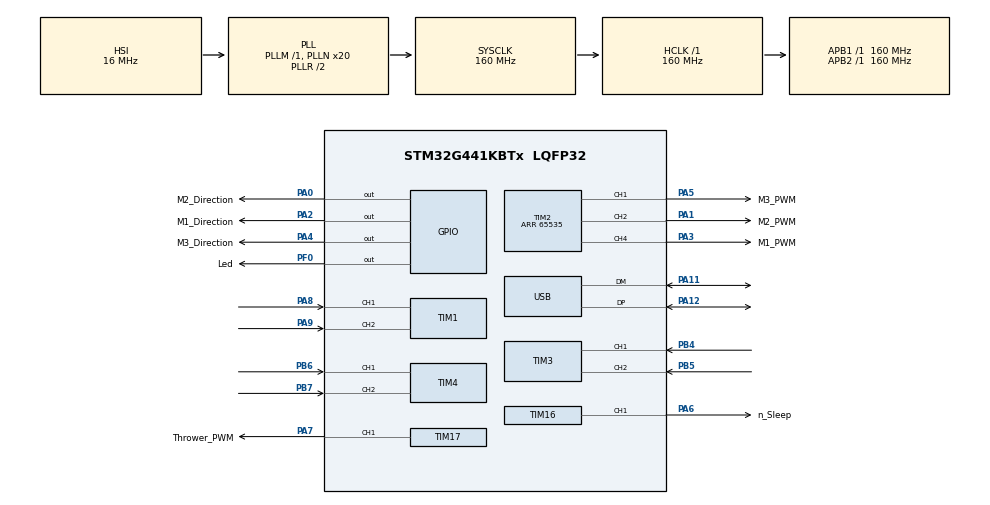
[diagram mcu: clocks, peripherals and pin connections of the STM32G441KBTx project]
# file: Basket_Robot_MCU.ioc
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Dma.Request0=TIM16_CH1
Dma.TIM16_CH1.0.Direction=DMA_MEMORY_TO_PERIPH
Dma.TIM16_CH1.0.EventEnable=DISABLE
Dma.TIM16_CH1.0.Instance=DMA1_Channel1
Dma.TIM16_CH1.0.MemDataAlignment=DMA_MDATAALIGN_HALFWORD
Dma.TIM16_CH1.0.MemInc=DMA_MINC_ENABLE
Dma.TIM16_CH1.0.Mode=DMA_NORMAL
Dma.TIM16_CH1.0.PeriphDataAlignment=DMA_PDATAALIGN_HALFWORD
Dma.TIM16_CH1.0.PeriphInc=DMA_PINC_DISABLE
Dma.TIM16_CH1.0.Polarity=HAL_DMAMUX_REQ_GEN_RISING
Dma.TIM16_CH1.0.Priority=DMA_PRIORITY_LOW
Dma.TIM16_CH1.0.RequestNumber=1
Dma.TIM16_CH1.0.SignalID=NONE
Dma.TIM16_CH1.0.SyncEnable=DISABLE
Dma.TIM16_CH1.0.SyncPolarity=HAL_DMAMUX_SYNC_NO_EVENT
Dma.TIM16_CH1.0.SyncRequestNumber=1
Dma.TIM16_CH1.0.SyncSignalID=NONE
Mcu.Family=STM32G4
Mcu.Name=STM32G441KBTx
Mcu.Package=LQFP32
NVIC.DMA1_Channel1_IRQn=true\:0\:0\:false\:false\:true\:false\:true
NVIC.PriorityGroup=NVIC_PRIORITYGROUP_4
NVIC.TIM2_IRQn=true\:0\:0\:false\:false\:true\:true\:true
NVIC.TIM6_DAC_IRQn=true\:0\:0\:false\:false\:true\:true\:true
NVIC.USB_LP_IRQn=true\:0\:0\:false\:false\:true\:false\:true
PA0.GPIO_Label=M2_Direction
PA0.Signal=GPIO_Output
PA1.GPIO_Label=M2_PWM
PA1.Signal=S_TIM2_CH2
PA11.Mode=Device
PA11.Signal=USB_DM
PA12.Mode=Device
PA12.Signal=USB_DP
PA13.Mode=Serial_Wire
PA13.Signal=SYS_JTMS-SWDIO
PA14.Mode=Serial_Wire
PA14.Signal=SYS_JTCK-SWCLK
PA2.GPIO_Label=M1_Direction
PA2.Signal=GPIO_Output
PA3.GPIO_Label=M1_PWM
PA3.Signal=S_TIM2_CH4
PA4.GPIO_Label=M3_Direction
PA4.Signal=GPIO_Output
PA5.GPIO_Label=M3_PWM
PA5.Signal=S_TIM2_CH1
PA6.GPIO_Label=n_Sleep
PA6.Signal=S_TIM16_CH1
PA7.GPIO_Label=Thrower_PWM
PA7.Signal=S_TIM17_CH1
PA8.Signal=S_TIM1_CH1
PA9.Signal=S_TIM1_CH2
PB4.Signal=S_TIM3_CH1
PB5.Signal=S_TIM3_CH2
PB6.Signal=S_TIM4_CH1
PB7.Signal=S_TIM4_CH2
PF0-OSC_IN.GPIO_Label=Led
PF0-OSC_IN.GPIO_Speed=GPIO_SPEED_FREQ_MEDIUM
PF0-OSC_IN.Signal=GPIO_Output
ProjectManager.HeapSize=0x200
ProjectManager.StackSize=0x400
ProjectManager.TargetToolchain=STM32CubeIDE
RCC.ADC12Freq_Value=160000000
RCC.AHBFreq_Value=160000000
RCC.APB1Freq_Value=160000000
RCC.APB1TimFreq_Value=160000000
RCC.APB2Freq_Value=160000000
RCC.APB2TimFreq_Value=160000000
RCC.CK48CLockSelection=RCC_USBCLKSOURCE_HSI48
RCC.CortexFreq_Value=160000000
RCC.EXTERNAL_CLOCK_VALUE=12288000
RCC.HCLKFreq_Value=160000000
RCC.HSE_VALUE=8000000
RCC.HSI48_VALUE=48000000
RCC.HSI_VALUE=16000000
RCC.LSE_VALUE=32768
RCC.PLLN=20
RCC.PLLQ=RCC_PLLQ_DIV4
RCC.SYSCLKFreq_VALUE=160000000
RCC.SYSCLKSource=RCC_SYSCLKSOURCE_PLLCLK
RCC.USBFreq_Value=48000000
RCC.VCOOutputFreq_Value=320000000
SH.S_TIM16_CH1.0=TIM16_CH1,PWM Generation1 CH1
SH.S_TIM17_CH1.0=TIM17_CH1,PWM Generation1 CH1
SH.S_TIM1_CH1.0=TIM1_CH1,Encoder_Interface
SH.S_TIM1_CH2.0=TIM1_CH2,Encoder_Interface
SH.S_TIM2_CH1.0=TIM2_CH1,PWM Generation1 CH1
SH.S_TIM2_CH2.0=TIM2_CH2,PWM Generation2 CH2
SH.S_TIM2_CH4.0=TIM2_CH4,PWM Generation4 CH4
SH.S_TIM3_CH1.0=TIM3_CH1,Encoder_Interface
SH.S_TIM3_CH2.0=TIM3_CH2,Encoder_Interface
SH.S_TIM4_CH1.0=TIM4_CH1,Encoder_Interface
SH.S_TIM4_CH2.0=TIM4_CH2,Encoder_Interface
TIM1.EncoderMode=TIM_ENCODERMODE_TI12
TIM16.Channel=TIM_CHANNEL_1
TIM16.OCIdleState_1=TIM_OCIDLESTATE_SET
TIM16.OCPolarity_1=TIM_OCPOLARITY_LOW
TIM16.PeriodNoDither=15999
TIM16.PulseNoDither_1=0
TIM17.Channel=TIM_CHANNEL_1
TIM17.PeriodNoDither=39999
TIM17.Prescaler=79
TIM2.Channel-PWM\ Generation1\ CH1=TIM_CHANNEL_1
TIM2.Channel-PWM\ Generation2\ CH2=TIM_CHANNEL_2
TIM2.Channel-PWM\ Generation4\ CH4=TIM_CHANNEL_4
TIM2.PeriodNoDither=65535
TIM3.EncoderMode=TIM_ENCODERMODE_TI12
TIM4.EncoderMode=TIM_ENCODERMODE_TI12
TIM6.PeriodNoDither=63999
TIM6.Prescaler=24
USB.Sof_enable=DISABLE
USB_DEVICE.CLASS_NAME_FS=CDC
USB_DEVICE.VirtualMode=Cdc
USB_DEVICE.VirtualModeFS=Cdc_FS
VP_SYS_VS_DBSignals.Mode=DisableDeadBatterySignals
VP_TIM16_VS_ClockSourceINT.Mode=Enable_Timer
VP_TIM17_VS_ClockSourceINT.Mode=Enable_Timer
VP_TIM6_VS_ClockSourceINT.Mode=Enable_Timer
VP_USB_DEVICE_VS_USB_DEVICE_CDC_FS.Mode=CDC_FS
board=custom

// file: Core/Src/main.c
/* USER CODE BEGIN Header */
/**
  ******************************************************************************
  * @file           : main.c
  * @brief          : Main program body
  ******************************************************************************
  * @attention
  *
  * Copyright (c) 2021 STMicroelectronics.
  * All rights reserved.
  *
  * This software is licensed under terms that can be found in the LICENSE file
  * in the root directory of this software component.
  * If no LICENSE file comes with this software, it is provided AS-IS.
  *
  ******************************************************************************
  */
/* USER CODE END Header */
#include "main.h"
#include "usb_device.h"

/* USER CODE BEGIN Includes */
#include "usbd_cdc_if.h"

/* USER CODE END Includes */

TIM_HandleTypeDef htim1;
TIM_HandleTypeDef htim2;
TIM_HandleTypeDef htim3;
TIM_HandleTypeDef htim4;
TIM_HandleTypeDef htim6;
TIM_HandleTypeDef htim16;
TIM_HandleTypeDef htim17;
DMA_HandleTypeDef hdma_tim16_ch1;

void SystemClock_Config(void);
static void MX_DMA_Init(void);
static void MX_GPIO_Init(void);
static void MX_TIM1_Init(void);
static void MX_TIM2_Init(void);
static void MX_TIM3_Init(void);
static void MX_TIM4_Init(void);
static void MX_TIM16_Init(void);
static void MX_TIM17_Init(void);
static void MX_TIM6_Init(void);

/* USER CODE BEGIN 0 */

typedef struct Command { // (1)
  int16_t speed1;
  int16_t speed2;
  int16_t speed3;
  uint16_t throwerSpeed;
  uint16_t delimiter; // (2)
} Command;

typedef struct Feedback { // (3)
  int16_t speed1;
  int16_t speed2;
  int16_t speed3;
  uint16_t delimiter;
} Feedback;

typedef struct MotorControl {
	int16_t gainP;
	int16_t gainI;
	int32_t integral;
	int16_t positionChange;
	int16_t positionPrev;
} MotorControl;

MotorControl motor1Control = {.gainP = 4500, .gainI=50, .integral=0, .positionChange=0};
MotorControl motor2Control = {.gainP = 4500, .gainI=50, .integral=0, .positionChange=0};
MotorControl motor3Control = {.gainP = 4500, .gainI=50, .integral=0, .positionChange=0};

Command command = {.speed1 = 0, .speed2 = 0, .speed3 = 0, .throwerSpeed = 0, .delimiter = 0}; // (4)

volatile uint8_t isCommandReceived = 0; // (5)

uint16_t nSleepPWMValues[2] = {4800, 0};

void CDC_On_Receive(uint8_t* buffer, uint32_t* length) { // (6)
  if (*length == sizeof(Command)) { // (7)
    memcpy(&command, buffer, sizeof(Command)); // (8)

    if (command.delimiter == 0xAAAA) { // (9)
      isCommandReceived = 1;
    }

  }
}

void enableMotorDrivers() {
	HAL_TIM_PWM_Start_DMA(&htim16, TIM_CHANNEL_1, nSleepPWMValues, 2);
}

int32_t clamp_value(int32_t val, int32_t min_val, int32_t max_val){

	if(val < min_val){

		return min_val;
	}
	if(val > max_val){

		return val;
	}
	return val;
}

int32_t controlMotor(MotorControl* motorControl, int16_t position, int16_t set_speed) {

	motorControl->positionChange = position - motorControl->positionPrev;
	motorControl->positionPrev = position;

	// PI controller implementation
	int16_t error = set_speed - motorControl->positionChange;
	motorControl->integral += error;

	motorControl->integral = clamp_value(motorControl->integral, -70000/motorControl->gainI, 70000/motorControl->gainI);

	return error * motorControl->gainP + motorControl->integral * motorControl->gainI;

}

void HAL_TIM_PeriodElapsedCallback(TIM_HandleTypeDef *htim) {
  // Motor control calculations is be called from here

	int32_t motor1PWM = clamp_value(controlMotor(&motor1Control, (int16_t)TIM1->CNT, command.speed1), -65535, 65535);
	int32_t motor2PWM = clamp_value(controlMotor(&motor2Control, (int16_t)TIM3->CNT, command.speed2), -65535, 65535);
	int32_t motor3PWM = clamp_value(controlMotor(&motor3Control, (int16_t)TIM4->CNT, command.speed3), -65535, 65535);

	if(motor1PWM < 0){
		//HAL_GPIO_WritePin(M1_Direction_GPIO_Port, M1_Direction_Pin, 0);
		HAL_GPIO_WritePin(M3_Direction_GPIO_Port, M3_Direction_Pin, 0);
		//TIM2->CCR4 = -motor1PWM; // Timer 2, channel 4
		TIM2->CCR1 = -motor1PWM; // Timer 2, channel 1
	}
	else{
		//HAL_GPIO_WritePin(M1_Direction_GPIO_Port, M1_Direction_Pin, 1);
		HAL_GPIO_WritePin(M3_Direction_GPIO_Port, M3_Direction_Pin, 1);
		//TIM2->CCR4 = motor1PWM; // Timer 2, channel 4
		TIM2->CCR1 = motor1PWM; // Timer 2, channel 1
	}

	if(motor2PWM < 0){
			HAL_GPIO_WritePin(M2_Direction_GPIO_Port, M2_Direction_Pin, 0);
			TIM2->CCR2 = -motor2PWM; // Timer 2, channel 2
		}
		else{
			HAL_GPIO_WritePin(M2_Direction_GPIO_Port, M2_Direction_Pin, 1);
			TIM2->CCR2 = motor2PWM; // Timer 2, channel 2
		}

	if(motor3PWM < 0){
			//HAL_GPIO_WritePin(M3_Direction_GPIO_Port, M3_Direction_Pin, 0);
			HAL_GPIO_WritePin(M1_Direction_GPIO_Port, M1_Direction_Pin, 0);
			//TIM2->CCR1 = -motor3PWM; // Timer 2, channel 1
			TIM2->CCR4 = -motor3PWM; // Timer 2, channel 4
		}
		else{
			//HAL_GPIO_WritePin(M3_Direction_GPIO_Port, M3_Direction_Pin, 1);
			HAL_GPIO_WritePin(M1_Direction_GPIO_Port, M1_Direction_Pin, 1);
			//TIM2->CCR1 = motor3PWM; // Timer 2, channel 1
			TIM2->CCR4 = motor3PWM; // Timer 2, channel 4
		}
}

/* USER CODE END 0 */

int main(void)
{

  /* MCU Configuration--------------------------------------------------------*/

  /* Reset of all peripherals, Initializes the Flash interface and the Systick. */
  HAL_Init();

  /* Configure the system clock */
  SystemClock_Config();

  /* Initialize all configured peripherals */
  MX_DMA_Init();
  MX_GPIO_Init();
  MX_TIM1_Init();
  MX_TIM2_Init();
  MX_TIM3_Init();
  MX_TIM4_Init();
  MX_TIM16_Init();
  MX_TIM17_Init();
  MX_USB_Device_Init();
  MX_TIM6_Init();
  /* USER CODE BEGIN 2 */

  Feedback feedback = { // (1)
        .speed1 = 0,
        .speed2 = 0,
        .speed3 = 0,
        .delimiter = 0xAAAA
    };

  // Timer code
  HAL_TIM_Encoder_Start(&htim1, TIM_CHANNEL_1 | TIM_CHANNEL_2);
  HAL_TIM_Encoder_Start(&htim3, TIM_CHANNEL_1 | TIM_CHANNEL_2);
  HAL_TIM_Encoder_Start(&htim4, TIM_CHANNEL_1 | TIM_CHANNEL_2);

  // PWM code
  HAL_TIM_PWM_Start(&htim2, TIM_CHANNEL_1);
  HAL_TIM_PWM_Start(&htim2, TIM_CHANNEL_2);
  HAL_TIM_PWM_Start(&htim2, TIM_CHANNEL_4);
  HAL_TIM_PWM_Start(&htim17, TIM_CHANNEL_1);
  // Timer enabled code

  HAL_TIM_Base_Start_IT(&htim6);

  enableMotorDrivers();

  TIM17->CCR1 = 1800;

  /* USER CODE END 2 */

  /* Infinite loop */
  while (1)
  {

    /* USER CODE BEGIN 3 */

	  if (isCommandReceived) { // (2)
	       isCommandReceived = 0;

	       HAL_GPIO_TogglePin(Led_GPIO_Port, Led_Pin);

	       enableMotorDrivers();

	       feedback.speed1 = motor1Control.positionChange;
	       feedback.speed2 = motor2Control.positionChange;
	       feedback.speed3 = motor3Control.positionChange;
	       //feedback.speed1 = (int16_t)TIM1->CNT;
	       //feedback.speed2 = (int16_t)TIM3->CNT;
	       //feedback.speed3 = (int16_t)TIM4->CNT;

	       TIM17->CCR1 = command.throwerSpeed;

	       CDC_Transmit_FS((uint8_t*)&feedback, (uint16_t)sizeof(feedback));
	     }

  }
  /* USER CODE END 3 */
}

void SystemClock_Config(void)
{
  RCC_OscInitTypeDef RCC_OscInitStruct = {0};
  RCC_ClkInitTypeDef RCC_ClkInitStruct = {0};

  /** Configure the main internal regulator output voltage
  */
  HAL_PWREx_ControlVoltageScaling(PWR_REGULATOR_VOLTAGE_SCALE1_BOOST);
  /** Initializes the RCC Oscillators according to the specified parameters
  * in the RCC_OscInitTypeDef structure.
  */
  RCC_OscInitStruct.OscillatorType = RCC_OSCILLATORTYPE_HSI|RCC_OSCILLATORTYPE_HSI48;
  RCC_OscInitStruct.HSIState = RCC_HSI_ON;
  RCC_OscInitStruct.HSICalibrationValue = RCC_HSICALIBRATION_DEFAULT;
  RCC_OscInitStruct.HSI48State = RCC_HSI48_ON;
  RCC_OscInitStruct.PLL.PLLState = RCC_PLL_ON;
  RCC_OscInitStruct.PLL.PLLSource = RCC_PLLSOURCE_HSI;
  RCC_OscInitStruct.PLL.PLLM = RCC_PLLM_DIV1;
  RCC_OscInitStruct.PLL.PLLN = 20;
  RCC_OscInitStruct.PLL.PLLP = RCC_PLLP_DIV2;
  RCC_OscInitStruct.PLL.PLLQ = RCC_PLLQ_DIV4;
  RCC_OscInitStruct.PLL.PLLR = RCC_PLLR_DIV2;
  if (HAL_RCC_OscConfig(&RCC_OscInitStruct) != HAL_OK)
  {
    Error_Handler();
  }
  /** Initializes the CPU, AHB and APB buses clocks
  */
  RCC_ClkInitStruct.ClockType = RCC_CLOCKTYPE_HCLK|RCC_CLOCKTYPE_SYSCLK
                              |RCC_CLOCKTYPE_PCLK1|RCC_CLOCKTYPE_PCLK2;
  RCC_ClkInitStruct.SYSCLKSource = RCC_SYSCLKSOURCE_PLLCLK;
  RCC_ClkInitStruct.AHBCLKDivider = RCC_SYSCLK_DIV1;
  RCC_ClkInitStruct.APB1CLKDivider = RCC_HCLK_DIV1;
  RCC_ClkInitStruct.APB2CLKDivider = RCC_HCLK_DIV1;

  if (HAL_RCC_ClockConfig(&RCC_ClkInitStruct, FLASH_LATENCY_4) != HAL_OK)
  {
    Error_Handler();
  }
}

static void MX_TIM1_Init(void)
{

  TIM_Encoder_InitTypeDef sConfig = {0};
  TIM_MasterConfigTypeDef sMasterConfig = {0};

  htim1.Instance = TIM1;
  htim1.Init.Prescaler = 0;
  htim1.Init.CounterMode = TIM_COUNTERMODE_UP;
  htim1.Init.Period = 65535;
  htim1.Init.ClockDivision = TIM_CLOCKDIVISION_DIV1;
  htim1.Init.RepetitionCounter = 0;
  htim1.Init.AutoReloadPreload = TIM_AUTORELOAD_PRELOAD_DISABLE;
  sConfig.EncoderMode = TIM_ENCODERMODE_TI12;
  sConfig.IC1Polarity = TIM_ICPOLARITY_RISING;
  sConfig.IC1Selection = TIM_ICSELECTION_DIRECTTI;
  sConfig.IC1Prescaler = TIM_ICPSC_DIV1;
  sConfig.IC1Filter = 0;
  sConfig.IC2Polarity = TIM_ICPOLARITY_RISING;
  sConfig.IC2Selection = TIM_ICSELECTION_DIRECTTI;
  sConfig.IC2Prescaler = TIM_ICPSC_DIV1;
  sConfig.IC2Filter = 0;
  if (HAL_TIM_Encoder_Init(&htim1, &sConfig) != HAL_OK)
  {
    Error_Handler();
  }
  sMasterConfig.MasterOutputTrigger = TIM_TRGO_RESET;
  sMasterConfig.MasterOutputTrigger2 = TIM_TRGO2_RESET;
  sMasterConfig.MasterSlaveMode = TIM_MASTERSLAVEMODE_DISABLE;
  if (HAL_TIMEx_MasterConfigSynchronization(&htim1, &sMasterConfig) != HAL_OK)
  {
    Error_Handler();
  }

}

static void MX_TIM2_Init(void)
{

  TIM_MasterConfigTypeDef sMasterConfig = {0};
  TIM_OC_InitTypeDef sConfigOC = {0};

  htim2.Instance = TIM2;
  htim2.Init.Prescaler = 0;
  htim2.Init.CounterMode = TIM_COUNTERMODE_UP;
  htim2.Init.Period = 65535;
  htim2.Init.ClockDivision = TIM_CLOCKDIVISION_DIV1;
  htim2.Init.AutoReloadPreload = TIM_AUTORELOAD_PRELOAD_DISABLE;
  if (HAL_TIM_PWM_Init(&htim2) != HAL_OK)
  {
    Error_Handler();
  }
  sMasterConfig.MasterOutputTrigger = TIM_TRGO_RESET;
  sMasterConfig.MasterSlaveMode = TIM_MASTERSLAVEMODE_DISABLE;
  if (HAL_TIMEx_MasterConfigSynchronization(&htim2, &sMasterConfig) != HAL_OK)
  {
    Error_Handler();
  }
  sConfigOC.OCMode = TIM_OCMODE_PWM1;
  sConfigOC.Pulse = 0;
  sConfigOC.OCPolarity = TIM_OCPOLARITY_HIGH;
  sConfigOC.OCFastMode = TIM_OCFAST_DISABLE;
  if (HAL_TIM_PWM_ConfigChannel(&htim2, &sConfigOC, TIM_CHANNEL_1) != HAL_OK)
  {
    Error_Handler();
  }
  if (HAL_TIM_PWM_ConfigChannel(&htim2, &sConfigOC, TIM_CHANNEL_2) != HAL_OK)
  {
    Error_Handler();
  }
  if (HAL_TIM_PWM_ConfigChannel(&htim2, &sConfigOC, TIM_CHANNEL_4) != HAL_OK)
  {
    Error_Handler();
  }
  HAL_TIM_MspPostInit(&htim2);

}

static void MX_TIM3_Init(void)
{

  TIM_Encoder_InitTypeDef sConfig = {0};
  TIM_MasterConfigTypeDef sMasterConfig = {0};

  htim3.Instance = TIM3;
  htim3.Init.Prescaler = 0;
  htim3.Init.CounterMode = TIM_COUNTERMODE_UP;
  htim3.Init.Period = 65535;
  htim3.Init.ClockDivision = TIM_CLOCKDIVISION_DIV1;
  htim3.Init.AutoReloadPreload = TIM_AUTORELOAD_PRELOAD_DISABLE;
  sConfig.EncoderMode = TIM_ENCODERMODE_TI12;
  sConfig.IC1Polarity = TIM_ICPOLARITY_RISING;
  sConfig.IC1Selection = TIM_ICSELECTION_DIRECTTI;
  sConfig.IC1Prescaler = TIM_ICPSC_DIV1;
  sConfig.IC1Filter = 0;
  sConfig.IC2Polarity = TIM_ICPOLARITY_RISING;
  sConfig.IC2Selection = TIM_ICSELECTION_DIRECTTI;
  sConfig.IC2Prescaler = TIM_ICPSC_DIV1;
  sConfig.IC2Filter = 0;
  if (HAL_TIM_Encoder_Init(&htim3, &sConfig) != HAL_OK)
  {
    Error_Handler();
  }
  sMasterConfig.MasterOutputTrigger = TIM_TRGO_RESET;
  sMasterConfig.MasterSlaveMode = TIM_MASTERSLAVEMODE_DISABLE;
  if (HAL_TIMEx_MasterConfigSynchronization(&htim3, &sMasterConfig) != HAL_OK)
  {
    Error_Handler();
  }

}

static void MX_TIM4_Init(void)
{

  TIM_Encoder_InitTypeDef sConfig = {0};
  TIM_MasterConfigTypeDef sMasterConfig = {0};

  htim4.Instance = TIM4;
  htim4.Init.Prescaler = 0;
  htim4.Init.CounterMode = TIM_COUNTERMODE_UP;
  htim4.Init.Period = 65535;
  htim4.Init.ClockDivision = TIM_CLOCKDIVISION_DIV1;
  htim4.Init.AutoReloadPreload = TIM_AUTORELOAD_PRELOAD_DISABLE;
  sConfig.EncoderMode = TIM_ENCODERMODE_TI12;
  sConfig.IC1Polarity = TIM_ICPOLARITY_RISING;
  sConfig.IC1Selection = TIM_ICSELECTION_DIRECTTI;
  sConfig.IC1Prescaler = TIM_ICPSC_DIV1;
  sConfig.IC1Filter = 0;
  sConfig.IC2Polarity = TIM_ICPOLARITY_RISING;
  sConfig.IC2Selection = TIM_ICSELECTION_DIRECTTI;
  sConfig.IC2Prescaler = TIM_ICPSC_DIV1;
  sConfig.IC2Filter = 0;
  if (HAL_TIM_Encoder_Init(&htim4, &sConfig) != HAL_OK)
  {
    Error_Handler();
  }
  sMasterConfig.MasterOutputTrigger = TIM_TRGO_RESET;
  sMasterConfig.MasterSlaveMode = TIM_MASTERSLAVEMODE_DISABLE;
  if (HAL_TIMEx_MasterConfigSynchronization(&htim4, &sMasterConfig) != HAL_OK)
  {
    Error_Handler();
  }

}

static void MX_TIM6_Init(void)
{

  TIM_MasterConfigTypeDef sMasterConfig = {0};

  htim6.Instance = TIM6;
  htim6.Init.Prescaler = 24;
  htim6.Init.CounterMode = TIM_COUNTERMODE_UP;
  htim6.Init.Period = 63999;
  htim6.Init.AutoReloadPreload = TIM_AUTORELOAD_PRELOAD_DISABLE;
  if (HAL_TIM_Base_Init(&htim6) != HAL_OK)
  {
    Error_Handler();
  }
  sMasterConfig.MasterOutputTrigger = TIM_TRGO_RESET;
  sMasterConfig.MasterSlaveMode = TIM_MASTERSLAVEMODE_DISABLE;
  if (HAL_TIMEx_MasterConfigSynchronization(&htim6, &sMasterConfig) != HAL_OK)
  {
    Error_Handler();
  }

}

static void MX_TIM16_Init(void)
{

  TIM_OC_InitTypeDef sConfigOC = {0};
  TIM_BreakDeadTimeConfigTypeDef sBreakDeadTimeConfig = {0};

  htim16.Instance = TIM16;
  htim16.Init.Prescaler = 0;
  htim16.Init.CounterMode = TIM_COUNTERMODE_UP;
  htim16.Init.Period = 15999;
  htim16.Init.ClockDivision = TIM_CLOCKDIVISION_DIV1;
  htim16.Init.RepetitionCounter = 0;
  htim16.Init.AutoReloadPreload = TIM_AUTORELOAD_PRELOAD_DISABLE;
  if (HAL_TIM_Base_Init(&htim16) != HAL_OK)
  {
    Error_Handler();
  }
  if (HAL_TIM_PWM_Init(&htim16) != HAL_OK)
  {
    Error_Handler();
  }
  sConfigOC.OCMode = TIM_OCMODE_PWM1;
  sConfigOC.Pulse = 0;
  sConfigOC.OCPolarity = TIM_OCPOLARITY_LOW;
  sConfigOC.OCNPolarity = TIM_OCNPOLARITY_HIGH;
  sConfigOC.OCFastMode = TIM_OCFAST_DISABLE;
  sConfigOC.OCIdleState = TIM_OCIDLESTATE_SET;
  sConfigOC.OCNIdleState = TIM_OCNIDLESTATE_RESET;
  if (HAL_TIM_PWM_ConfigChannel(&htim16, &sConfigOC, TIM_CHANNEL_1) != HAL_OK)
  {
    Error_Handler();
  }
  sBreakDeadTimeConfig.OffStateRunMode = TIM_OSSR_DISABLE;
  sBreakDeadTimeConfig.OffStateIDLEMode = TIM_OSSI_DISABLE;
  sBreakDeadTimeConfig.LockLevel = TIM_LOCKLEVEL_OFF;
  sBreakDeadTimeConfig.DeadTime = 0;
  sBreakDeadTimeConfig.BreakState = TIM_BREAK_DISABLE;
  sBreakDeadTimeConfig.BreakPolarity = TIM_BREAKPOLARITY_HIGH;
  sBreakDeadTimeConfig.BreakFilter = 0;
  sBreakDeadTimeConfig.AutomaticOutput = TIM_AUTOMATICOUTPUT_DISABLE;
  if (HAL_TIMEx_ConfigBreakDeadTime(&htim16, &sBreakDeadTimeConfig) != HAL_OK)
  {
    Error_Handler();
  }
  HAL_TIM_MspPostInit(&htim16);

}

static void MX_TIM17_Init(void)
{

  TIM_OC_InitTypeDef sConfigOC = {0};
  TIM_BreakDeadTimeConfigTypeDef sBreakDeadTimeConfig = {0};

  htim17.Instance = TIM17;
  htim17.Init.Prescaler = 79;
  htim17.Init.CounterMode = TIM_COUNTERMODE_UP;
  htim17.Init.Period = 39999;
  htim17.Init.ClockDivision = TIM_CLOCKDIVISION_DIV1;
  htim17.Init.RepetitionCounter = 0;
  htim17.Init.AutoReloadPreload = TIM_AUTORELOAD_PRELOAD_DISABLE;
  if (HAL_TIM_Base_Init(&htim17) != HAL_OK)
  {
    Error_Handler();
  }
  if (HAL_TIM_PWM_Init(&htim17) != HAL_OK)
  {
    Error_Handler();
  }
  sConfigOC.OCMode = TIM_OCMODE_PWM1;
  sConfigOC.Pulse = 0;
  sConfigOC.OCPolarity = TIM_OCPOLARITY_HIGH;
  sConfigOC.OCNPolarity = TIM_OCNPOLARITY_HIGH;
  sConfigOC.OCFastMode = TIM_OCFAST_DISABLE;
  sConfigOC.OCIdleState = TIM_OCIDLESTATE_RESET;
  sConfigOC.OCNIdleState = TIM_OCNIDLESTATE_RESET;
  if (HAL_TIM_PWM_ConfigChannel(&htim17, &sConfigOC, TIM_CHANNEL_1) != HAL_OK)
  {
    Error_Handler();
  }
  sBreakDeadTimeConfig.OffStateRunMode = TIM_OSSR_DISABLE;
  sBreakDeadTimeConfig.OffStateIDLEMode = TIM_OSSI_DISABLE;
  sBreakDeadTimeConfig.LockLevel = TIM_LOCKLEVEL_OFF;
  sBreakDeadTimeConfig.DeadTime = 0;
  sBreakDeadTimeConfig.BreakState = TIM_BREAK_DISABLE;
  sBreakDeadTimeConfig.BreakPolarity = TIM_BREAKPOLARITY_HIGH;
  sBreakDeadTimeConfig.BreakFilter = 0;
  sBreakDeadTimeConfig.AutomaticOutput = TIM_AUTOMATICOUTPUT_DISABLE;
  if (HAL_TIMEx_ConfigBreakDeadTime(&htim17, &sBreakDeadTimeConfig) != HAL_OK)
  {
    Error_Handler();
  }
  HAL_TIM_MspPostInit(&htim17);

}

static void MX_DMA_Init(void)
{

  /* DMA controller clock enable */
  __HAL_RCC_DMAMUX1_CLK_ENABLE();
  __HAL_RCC_DMA1_CLK_ENABLE();

  /* DMA interrupt init */
  /* DMA1_Channel1_IRQn interrupt configuration */
  HAL_NVIC_SetPriority(DMA1_Channel1_IRQn, 0, 0);
  HAL_NVIC_EnableIRQ(DMA1_Channel1_IRQn);

}

static void MX_GPIO_Init(void)
{
  GPIO_InitTypeDef GPIO_InitStruct = {0};

  /* GPIO Ports Clock Enable */
  __HAL_RCC_GPIOF_CLK_ENABLE();
  __HAL_RCC_GPIOA_CLK_ENABLE();
  __HAL_RCC_GPIOB_CLK_ENABLE();

  /*Configure GPIO pin Output Level */
  HAL_GPIO_WritePin(Led_GPIO_Port, Led_Pin, GPIO_PIN_RESET);

  /*Configure GPIO pin Output Level */
  HAL_GPIO_WritePin(GPIOA, M2_Direction_Pin|M1_Direction_Pin|M3_Direction_Pin, GPIO_PIN_RESET);

  /*Configure GPIO pin : Led_Pin */
  GPIO_InitStruct.Pin = Led_Pin;
  GPIO_InitStruct.Mode = GPIO_MODE_OUTPUT_PP;
  GPIO_InitStruct.Pull = GPIO_NOPULL;
  GPIO_InitStruct.Speed = GPIO_SPEED_FREQ_MEDIUM;
  HAL_GPIO_Init(Led_GPIO_Port, &GPIO_InitStruct);

  /*Configure GPIO pins : M2_Direction_Pin M1_Direction_Pin M3_Direction_Pin */
  GPIO_InitStruct.Pin = M2_Direction_Pin|M1_Direction_Pin|M3_Direction_Pin;
  GPIO_InitStruct.Mode = GPIO_MODE_OUTPUT_PP;
  GPIO_InitStruct.Pull = GPIO_NOPULL;
  GPIO_InitStruct.Speed = GPIO_SPEED_FREQ_LOW;
  HAL_GPIO_Init(GPIOA, &GPIO_InitStruct);

}

void Error_Handler(void)
{
  __disable_irq();
  while (1)
  {
  }
}
